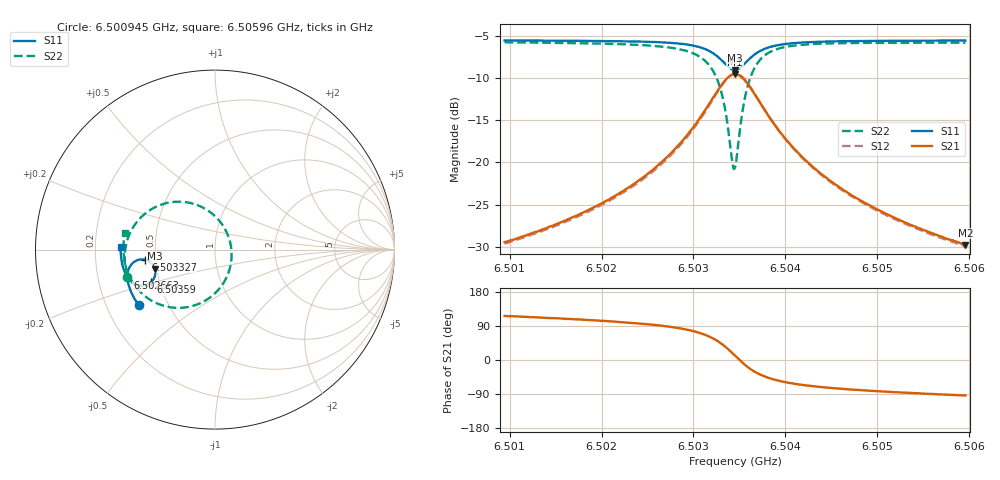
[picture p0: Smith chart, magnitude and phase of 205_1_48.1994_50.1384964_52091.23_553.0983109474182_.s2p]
#  HZ  S  RI  R  50.00
! Rohde & Schwarz Vector Network Analyzer
! Rohde-Schwarz,ZNB20-2Port,1311601062101988,3.16
! Created: UTC 3/20/2024, 11:45:11 AM
! freq[Hz]  re:S11  im:S11  re:S21  im:S21  re:S12  im:S12  re:S22  im:S22
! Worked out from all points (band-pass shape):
!   401 points, 6.500945 GHz to 6.50596 GHz, reference 50 ohm
!   highest |S21| = -9.56 dB at 6.503452 GHz (marker M1); lowest = -29.8 dB at 6.50596 GHz (marker M2)
!   |S21| within 3 dB of the highest: 6.503201 GHz to 6.503703 GHz (501.8 kHz wide, 0.00772 % of centre)
!   lowest |S11| = -9.1 dB at 6.503452 GHz (marker M3), VSWR 2.09, Z = 24.4 - j5.92 ohm
!   |S11| at or under -10 dB: nowhere
!   |S22| runs from -20.8 to -5.8 dB; largest |S21 - S12| = 0.012
!   S11 on the Smith chart (normalised r, x): 6.500945 GHz: 0.34, -0.29; 6.502663 GHz: 0.33, -0.14; 6.503327 GHz: 0.44, -0.06; 6.50359 GHz: 0.45, -0.19; 6.50596 GHz: 0.31, +0.01
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6.5009447e9  -0.4262 -0.3095  -0.0149 0.0302  -0.0132 0.0303  -0.4898 -0.1546
6.5017848e9  -0.4622 -0.2474  -0.0142 0.048  -0.0117 0.0475  -0.5031 -0.0653
6.5022613e9  -0.4788 -0.205  -0.0112 0.0683  -0.00816 0.067  -0.4995 0.00296
6.5026249e9  -0.4873 -0.1646  -0.00209 0.097  0.00149 0.0947  -0.4802 0.0761
6.5026625e9  -0.4878 -0.1596  -0.000417 0.1013  0.00333 0.0987  -0.4763 0.0855
6.5029384e9  -0.4837 -0.1166  0.0265 0.1439  0.0303 0.1395  -0.4202 0.1718
6.5031265e9  -0.462 -0.0785  0.0813 0.1864  0.0837 0.1801  -0.3154 0.2446
6.5032393e9  -0.4289 -0.0577  0.151 0.204  0.1519 0.1976  -0.1896 0.2667
6.5033271e9  -0.3881 -0.0563  0.2314 0.1873  0.2317 0.1821  -0.051 0.225
6.5034149e9  -0.3462 -0.0846  0.3087 0.1138  0.3109 0.1091  0.0718 0.0807
6.5034399e9  -0.3382 -0.0987  0.3218 0.0825  0.3249 0.0772  0.0886 0.0218
6.5034525e9  -0.3356 -0.1062  0.3259 0.0659  0.3293 0.06  0.0922 -0.00919
6.5034776e9  -0.3327 -0.1222  0.3294 0.0318  0.333 0.0247  0.0897 -0.0714
6.5035402e9  -0.34 -0.1598  0.3104 -0.0468  0.3126 -0.0569  0.0322 -0.208
6.5035904e9  -0.3566 -0.1818  0.2764 -0.0925  0.276 -0.1039  -0.0455 -0.2791
6.5037033e9  -0.4016 -0.2011  0.1913 -0.1371  0.1856 -0.1466  -0.218 -0.3244
6.5038663e9  -0.448 -0.1914  0.1089 -0.1334  0.1017 -0.1385  -0.3661 -0.2766
6.5040418e9  -0.4755 -0.17  0.0642 -0.1129  0.0578 -0.1152  -0.4384 -0.211
6.5042926e9  -0.4962 -0.14  0.034 -0.0885  0.0292 -0.0889  -0.482 -0.1383
6.5046938e9  -0.5125 -0.0984  0.0142 -0.0639  0.0108 -0.0634  -0.505 -0.0591
6.5051327e9  -0.5211 -0.0579  0.00487 -0.0484  0.00277 -0.0476  -0.5105 0.00253
6.5059603e9  -0.5259 0.0123  -0.00209 -0.0324  -0.00339 -0.0317  -0.5025 0.0903
